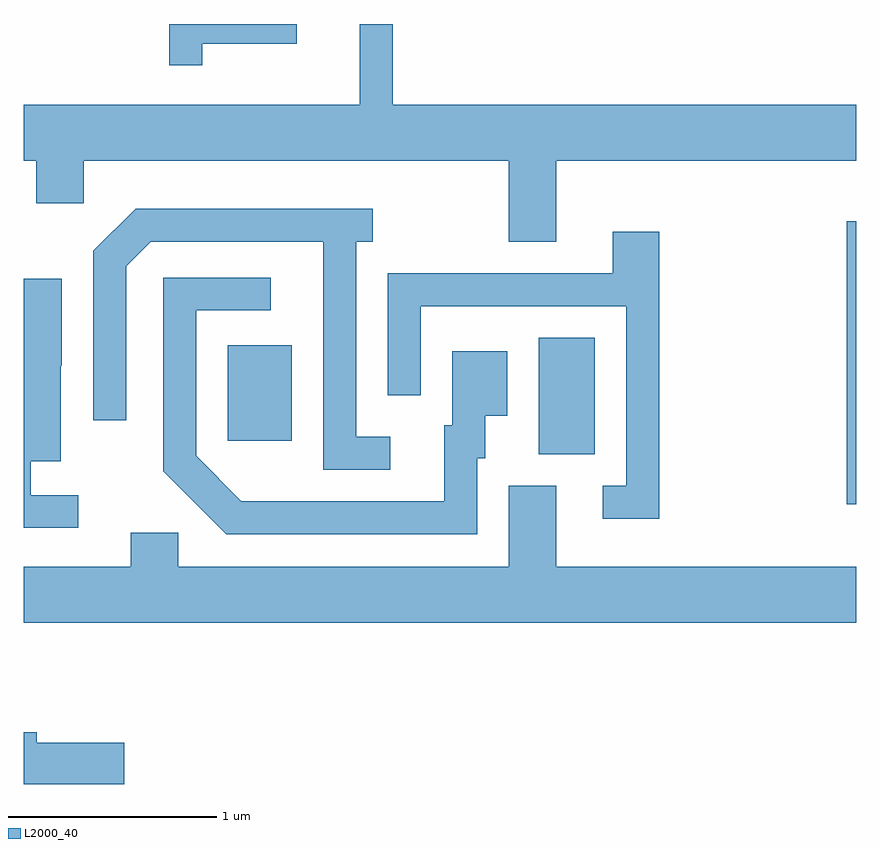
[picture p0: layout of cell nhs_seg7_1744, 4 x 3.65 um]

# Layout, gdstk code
import gdstk
lib = gdstk.Library(unit=1e-6, precision=1e-09)
def R(c, l, rs):  # rectangles x0, y0, x1, y1
    for r in rs: c.add(gdstk.rectangle(r[:2], r[2:], *l))
def P(c, l, *ps):  # polygons
    for p in ps: c.add(gdstk.Polygon(p, *l))
L2000_40 = (2000, 40)

nhs_seg7_1744 = lib.new_cell('nhs_seg7_1744')
R(nhs_seg7_1744, L2000_40, [(241.566,1765.946,241.611,1767.304), (240.086,1766.186,240.354,1766.744), (238.591,1766.251,238.899,1766.709)])
P(nhs_seg7_1744, L2000_40, [(240.169,1767.596),(241.611,1767.596),(241.611,1767.864),(239.384,1767.864),(239.384,1768.252),(239.226,1768.252),(239.226,1767.864),(237.611,1767.864),(237.611,1767.596),(237.671,1767.596),(237.671,1767.391),(237.899,1767.391),(237.899,1767.596),(239.941,1767.596),(239.941,1767.206),(240.169,1767.206)],
  [(238.469,1768.156),(238.924,1768.156),(238.924,1768.252),(238.311,1768.252),(238.311,1768.053),(238.469,1768.053)],
  [(239.373,1766.269),(239.209,1766.269),(239.209,1767.206),(239.288,1767.206),(239.288,1767.364),(238.149,1767.364),(237.946,1767.162),(237.946,1766.348),(238.104,1766.348),(238.104,1767.089),(238.222,1767.206),(239.051,1767.206),(239.051,1766.111),(239.373,1766.111)],
  [(240.664,1767.254),(240.441,1767.254),(240.441,1767.054),(239.361,1767.054),(239.361,1766.468),(239.519,1766.468),(239.519,1766.896),(240.506,1766.896),(240.506,1766.034),(240.393,1766.034),(240.393,1765.876),(240.664,1765.876)],
  [(239.789,1766.166),(239.829,1766.166),(239.829,1766.371),(239.934,1766.371),(239.934,1766.679),(239.671,1766.679),(239.671,1766.324),(239.631,1766.324),(239.631,1765.959),(238.657,1765.959),(238.439,1766.177),(238.439,1766.876),(238.798,1766.876),(238.798,1767.034),(238.281,1767.034),(238.281,1766.104),(238.584,1765.801),(239.789,1765.801)],
  [(237.873,1765.989),(237.644,1765.989),(237.644,1766.151),(237.789,1766.151),(237.789,1766.61),(237.794,1766.61),(237.794,1767.029),(237.611,1767.029),(237.611,1765.831),(237.873,1765.831)],
  [(241.611,1765.644),(240.169,1765.644),(240.169,1766.034),(239.941,1766.034),(239.941,1765.644),(238.354,1765.644),(238.354,1765.809),(238.126,1765.809),(238.126,1765.644),(237.611,1765.644),(237.611,1765.376),(241.611,1765.376)],
  [(238.094,1764.799),(237.674,1764.799),(237.674,1764.849),(237.611,1764.849),(237.611,1764.601),(238.094,1764.601)])

lib.write_gds('nhs_seg7_1744.gds')
